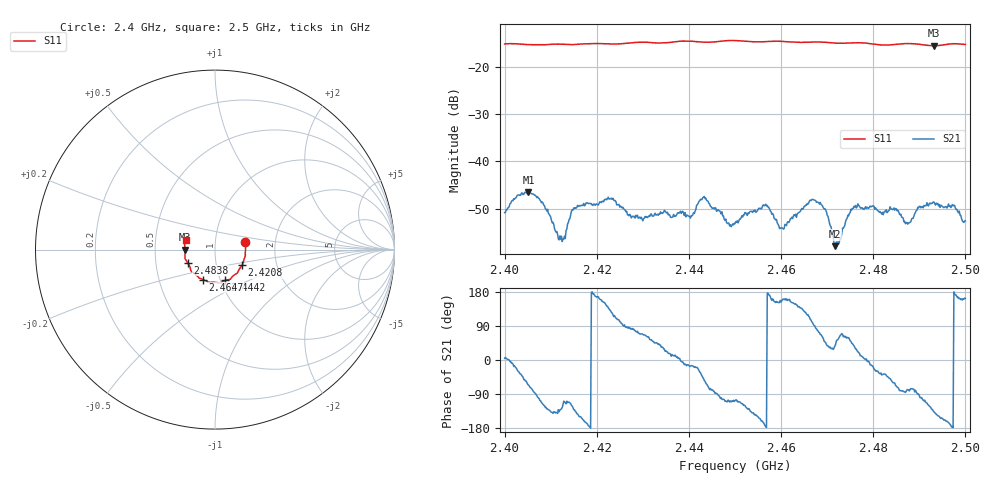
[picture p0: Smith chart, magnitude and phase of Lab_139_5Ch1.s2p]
# Hz S RI R 50
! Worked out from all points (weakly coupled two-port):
!   601 points, 2.4 GHz to 2.5 GHz, reference 50 ohm
!   highest |S21| = -46.48 dB at 2.4052 GHz (marker M1); lowest = -57.9 dB at 2.4717 GHz (marker M2)
!   lowest |S11| = -15.6 dB at 2.4932 GHz (marker M3), VSWR 1.40, Z = 35.8 - j0.0819 ohm
!   |S11| at or under -10 dB: start of sweep to end of sweep
!   S12 and S22 are empty: the file has one direction only
!   S11 on the Smith chart (normalised r, x): 2.4 GHz: 1.40, +0.12; 2.4208 GHz: 1.33, -0.24; 2.4442 GHz: 1.05, -0.37; 2.4647 GHz: 0.83, -0.29; 2.4838 GHz: 0.73, -0.11; 2.5 GHz: 0.72, +0.08
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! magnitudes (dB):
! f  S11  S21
! 2.4 GHz  -15.2  -50.8
! 2.4052 GHz  -15.4  -46.5
! 2.4082 GHz  -15.4  -48.6
! 2.4122 GHz  -15.3  -56.4
! 2.4167 GHz  -15.3  -49.3
! 2.4208 GHz  -15.2  -48.6
! 2.4333 GHz  -15.0  -51.4
! 2.4403 GHz  -14.7  -52.0
! 2.4442 GHz  -14.9  -48.4
! 2.45 GHz  -14.5  -53.2
! 2.4565 GHz  -14.8  -49.3
! 2.4602 GHz  -14.7  -54.0
! 2.4647 GHz  -14.9  -50.1
! 2.4667 GHz  -14.8  -48.1
! 2.4693 GHz  -14.9  -50.0
! 2.4717 GHz  -15.1  -57.9
! 2.4757 GHz  -15.0  -49.9
! 2.4833 GHz  -15.5  -50.4
! 2.4838 GHz  -15.4  -50.0
! 2.4875 GHz  -15.2  -53.3
! 2.4932 GHz  -15.6  -48.6
! 2.5 GHz  -15.3  -52.6
